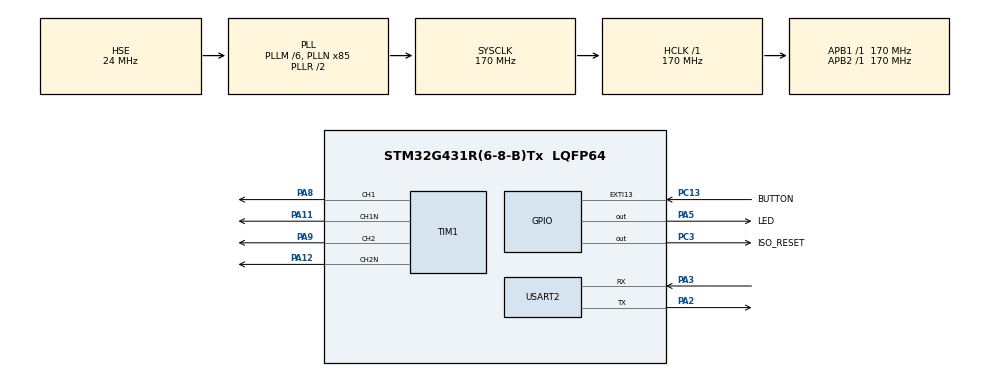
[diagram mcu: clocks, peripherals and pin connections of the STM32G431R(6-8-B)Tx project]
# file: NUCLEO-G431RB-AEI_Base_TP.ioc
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Mcu.Family=STM32G4
Mcu.Name=STM32G431R(6-8-B)Tx
Mcu.Package=LQFP64
NVIC.PriorityGroup=NVIC_PRIORITYGROUP_4
NVIC.TIM6_DAC_IRQn=true\:15\:0\:false\:false\:true\:false\:true\:true
NVIC.TimeBase=TIM6_DAC_IRQn
NVIC.TimeBaseIP=TIM6
NVIC.USART2_IRQn=true\:0\:0\:false\:false\:true\:true\:true\:true
PA11.Mode=PWM Generation1 CH1 CH1N
PA11.Signal=TIM1_CH1N
PA12.Mode=PWM Generation2 CH2 CH2N
PA12.Signal=TIM1_CH2N
PA13.GPIO_Label=T_SWDIO
PA13.Mode=Serial_Wire
PA13.Signal=SYS_JTMS-SWDIO
PA14.GPIO_Label=T_SWCLK
PA14.Mode=Serial_Wire
PA14.Signal=SYS_JTCK-SWCLK
PA2.Mode=Asynchronous
PA2.Signal=USART2_TX
PA3.Mode=Asynchronous
PA3.Signal=USART2_RX
PA5.GPIO_Label=LED
PA5.Signal=GPIO_Output
PA8.Signal=S_TIM1_CH1
PA9.Signal=S_TIM1_CH2
PC13.GPIO_Label=BUTTON
PC13.Signal=GPXTI13
PC14-OSC32_IN.Mode=LSE-External-Oscillator
PC14-OSC32_IN.Signal=RCC_OSC32_IN
PC15-OSC32_OUT.Mode=LSE-External-Oscillator
PC15-OSC32_OUT.Signal=RCC_OSC32_OUT
PC3.GPIO_Label=ISO_RESET
PC3.Signal=GPIO_Output
PF0-OSC_IN.Mode=HSE-External-Oscillator
PF0-OSC_IN.Signal=RCC_OSC_IN
PF1-OSC_OUT.Mode=HSE-External-Oscillator
PF1-OSC_OUT.Signal=RCC_OSC_OUT
ProjectManager.HeapSize=0x200
ProjectManager.StackSize=0x400
ProjectManager.TargetToolchain=STM32CubeIDE
RCC.ADC12Freq_Value=170000000
RCC.AHBFreq_Value=170000000
RCC.APB1Freq_Value=170000000
RCC.APB1TimFreq_Value=170000000
RCC.APB2Freq_Value=170000000
RCC.APB2TimFreq_Value=170000000
RCC.CortexFreq_Value=170000000
RCC.EXTERNAL_CLOCK_VALUE=12288000
RCC.HCLKFreq_Value=170000000
RCC.HSE_VALUE=24000000
RCC.HSI48_VALUE=48000000
RCC.HSI_VALUE=16000000
RCC.PLLM=RCC_PLLM_DIV6
RCC.PLLN=85
RCC.PLLSourceVirtual=RCC_PLLSOURCE_HSE
RCC.RTCClockSelection=RCC_RTCCLKSOURCE_LSE
RCC.SYSCLKFreq_VALUE=170000000
RCC.SYSCLKSource=RCC_SYSCLKSOURCE_PLLCLK
RCC.USBFreq_Value=170000000
RCC.VCOOutputFreq_Value=340000000
SH.S_TIM1_CH1.0=TIM1_CH1,PWM Generation1 CH1 CH1N
SH.S_TIM1_CH2.0=TIM1_CH2,PWM Generation2 CH2 CH2N
TIM1.Channel-PWM\ Generation1\ CH1\ CH1N=TIM_CHANNEL_1
TIM1.Channel-PWM\ Generation2\ CH2\ CH2N=TIM_CHANNEL_2
USART2.VirtualMode-Asynchronous=VM_ASYNC
VP_SYS_VS_DBSignals.Mode=DisableDeadBatterySignals
VP_SYS_VS_tim6.Mode=TIM6
VP_TIM1_VS_ClockSourceINT.Mode=Internal
board=NUCLEO-G431RB

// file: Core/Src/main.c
/* USER CODE BEGIN Header */
/**
 ******************************************************************************
 * @file           : main.c
 * @brief          : Main program body
 ******************************************************************************
 * @attention
 *
 * Copyright (c) 2022 STMicroelectronics.
 * All rights reserved.
 *
 * This software is licensed under terms that can be found in the LICENSE file
 * in the root directory of this software component.
 * If no LICENSE file comes with this software, it is provided AS-IS.
 *
 ******************************************************************************
 */
/* USER CODE END Header */
#include "main.h"
#include "tim.h"
#include "usart.h"
#include "gpio.h"

/* USER CODE BEGIN Includes */
#include <stdio.h>
#include <stdlib.h>
#include <string.h>
#include "shell.h"
#include "motor.h"

/* USER CODE END Includes */

/* USER CODE BEGIN PV */

extern uint8_t uartRxReceived;
extern uint8_t uartRxBuffer[UART_RX_BUFFER_SIZE];
extern uint8_t uartTxBuffer[UART_TX_BUFFER_SIZE];
/* USER CODE END PV */

void SystemClock_Config(void);

int main(void)
{

  /* MCU Configuration--------------------------------------------------------*/

  /* Reset of all peripherals, Initializes the Flash interface and the Systick. */
  HAL_Init();

  /* Configure the system clock */
  SystemClock_Config();

  /* Initialize all configured peripherals */
  MX_GPIO_Init();
  MX_USART2_UART_Init();
  MX_TIM1_Init();
  /* USER CODE BEGIN 2 */
	HAL_UART_Receive_IT(&huart2, uartRxBuffer, UART_RX_BUFFER_SIZE);
	HAL_Delay(1);
	shellInit();
  /* USER CODE END 2 */

  /* Infinite loop */
  /* USER CODE BEGIN WHILE */
	while (1)
	{
		// SuperLoop inside the while(1), only flag changed from interrupt could launch functions
		if(uartRxReceived){
			if(shellGetChar()){
				shellExec();
				shellPrompt();
			}
			uartRxReceived = 0;
		}

    /* USER CODE END WHILE */

	}
}

void SystemClock_Config(void)
{
  RCC_OscInitTypeDef RCC_OscInitStruct = {0};
  RCC_ClkInitTypeDef RCC_ClkInitStruct = {0};

  /** Configure the main internal regulator output voltage
  */
  HAL_PWREx_ControlVoltageScaling(PWR_REGULATOR_VOLTAGE_SCALE1_BOOST);

  /** Initializes the RCC Oscillators according to the specified parameters
  * in the RCC_OscInitTypeDef structure.
  */
  RCC_OscInitStruct.OscillatorType = RCC_OSCILLATORTYPE_HSE;
  RCC_OscInitStruct.HSEState = RCC_HSE_ON;
  RCC_OscInitStruct.PLL.PLLState = RCC_PLL_ON;
  RCC_OscInitStruct.PLL.PLLSource = RCC_PLLSOURCE_HSE;
  RCC_OscInitStruct.PLL.PLLM = RCC_PLLM_DIV6;
  RCC_OscInitStruct.PLL.PLLN = 85;
  RCC_OscInitStruct.PLL.PLLP = RCC_PLLP_DIV2;
  RCC_OscInitStruct.PLL.PLLQ = RCC_PLLQ_DIV2;
  RCC_OscInitStruct.PLL.PLLR = RCC_PLLR_DIV2;
  if (HAL_RCC_OscConfig(&RCC_OscInitStruct) != HAL_OK)
  {
    Error_Handler();
  }

  /** Initializes the CPU, AHB and APB buses clocks
  */
  RCC_ClkInitStruct.ClockType = RCC_CLOCKTYPE_HCLK|RCC_CLOCKTYPE_SYSCLK
                              |RCC_CLOCKTYPE_PCLK1|RCC_CLOCKTYPE_PCLK2;
  RCC_ClkInitStruct.SYSCLKSource = RCC_SYSCLKSOURCE_PLLCLK;
  RCC_ClkInitStruct.AHBCLKDivider = RCC_SYSCLK_DIV1;
  RCC_ClkInitStruct.APB1CLKDivider = RCC_HCLK_DIV1;
  RCC_ClkInitStruct.APB2CLKDivider = RCC_HCLK_DIV1;

  if (HAL_RCC_ClockConfig(&RCC_ClkInitStruct, FLASH_LATENCY_4) != HAL_OK)
  {
    Error_Handler();
  }
}

void HAL_TIM_PeriodElapsedCallback(TIM_HandleTypeDef *htim)
{
  if (htim->Instance == TIM6) {
    HAL_IncTick();
  }
}

void Error_Handler(void)
{
	__disable_irq();
	while (1)
	{
	}
}
